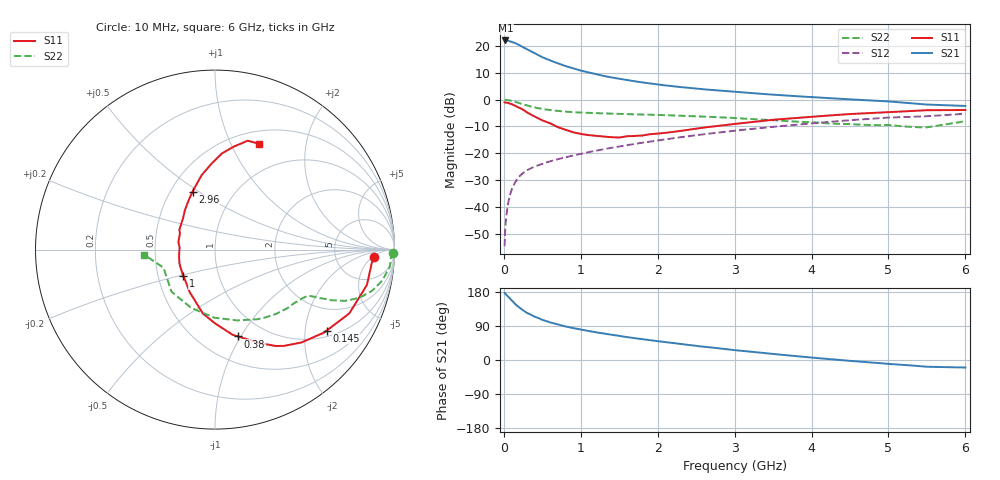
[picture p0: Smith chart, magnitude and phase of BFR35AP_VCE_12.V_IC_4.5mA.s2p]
! Infineon Technologies  Discrete & RF Semiconductors
! BFR35AP
! VCE =  12. V,  IC =  4.5 mA
! Common Emitter S-Parameters:  Nov 2015
# GHz  S  MA  R  50
!  f  S11  S21  S12  S22
! GHz  MAG  ANG  MAG  ANG  MAG  ANG  MAG  ANG
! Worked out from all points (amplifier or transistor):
!   210 points, 10 MHz to 6 GHz, reference 50 ohm
!   highest |S21| = 21.9 dB at 20 MHz (marker M1)
!   |S21| within 3 dB of that: start of sweep to 283.6 MHz
!   unconditionally stable (mu >= 1): 892.7 MHz to 2.906 GHz
!   at 185 MHz: K = 0.35, MSG = 24.8 dB, |S12| = -29.2 dB
!   at 1.52 GHz: K = 1.10, MAG = 10.5 dB, |S12| = -17.3 dB
!   at 6 GHz: K = 0.87, MSG = 1.5 dB, |S12| = -5.3 dB
!   S11 on the Smith chart (normalised r, x): 10 MHz: 14, -6; 145 MHz: 1.18, -2.61; 380 MHz: 0.75, -0.97; 1 GHz: 0.67, -0.21; 2.96 GHz: 0.64, +0.47; 6 GHz: 0.64, +1.28
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0.01  0.8863 -2.7  12.44 177.3  0.0019 78.6  0.9943 -1.0
0.02  0.8759 -5.2  12.47 174.8  0.0043 87.2  0.9815 -2.1
0.05  0.8691 -13.1  12.43 168.3  0.0106 80.6  0.9789 -5.5
0.1  0.8284 -25.4  11.77 157.9  0.021 76.1  0.9477 -10.5
0.145  0.7687 -35.9  11.2 148.0  0.0287 70.9  0.9088 -14.3
0.2  0.7067 -47.1  10.27 138.6  0.0371 66.2  0.8575 -17.8
0.24  0.6597 -54.4  9.517 132.6  0.0421 63.6  0.8239 -19.5
0.3  0.5786 -64.3  8.598 124.3  0.0487 61.5  0.7768 -21.6
0.38  0.5002 -75.2  7.498 116.7  0.0553 59.3  0.7239 -23.0
0.4  0.484 -78.4  7.248 114.4  0.0569 58.8  0.7107 -23.4
0.5  0.4113 -89.9  6.098 106.0  0.064 57.6  0.6657 -24.3
0.6  0.3627 -100.7  5.316 99.4  0.0713 57.2  0.6375 -24.9
0.8  0.2759 -120.7  4.184 88.6  0.0846 57.5  0.5965 -25.8
1  0.2305 -139.8  3.446 80.3  0.098 58.6  0.5725 -27.0
1.02  0.2277 -141.7  3.392 79.6  0.0995 58.6  0.5711 -27.2
1.4  0.2003 -175.8  2.566 66.6  0.1268 59.3  0.5479 -30.9
2.02  0.2346 144.0  1.884 49.1  0.1762 58.0  0.5171 -39.4
2.96  0.3465 111.1  1.405 27.0  0.2599 52.2  0.457 -57.7
3.1  0.3648 107.9  1.356 24.1  0.273 50.8  0.4444 -61.1
4.1  0.4907 90.9  1.087 4.6  0.371 40.7  0.3698 -94.5
5.1  0.5924 78.3  0.898 -11.6  0.4672 26.9  0.3262 -140.5
6  0.6385 67.5  0.76 -19.9  0.544 16.0  0.3951 -175.8
